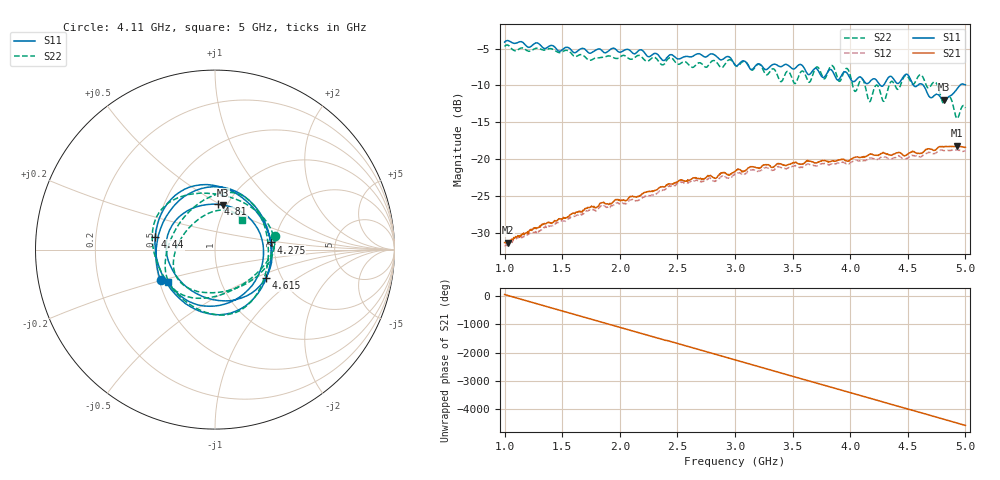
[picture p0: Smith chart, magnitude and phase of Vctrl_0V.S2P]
! C:\Users\Aljaz\OneDrive - Univerza v Ljubljani\DOKTORAT\NOVI TG\PIN AGC ATT\meritve_BAP64Q\Vctrl_0V.S2P
! Touchstone 1.1 file saved by VNA.EXE V1.65 (www.ke5fx.com/gpib/readme.htm)
! 22. 10. 2022 12:15:23
!  Source: HP8510C.07.14: Aug 26  1998
!  Min freq: 1.000000E+009 Hz
!  Max freq: 5.000000E+009 Hz
!  Points: 801
!  Params: S11 S21 S12 S22
# GHZ S DB R 50
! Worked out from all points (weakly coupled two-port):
!   801 points, 1 GHz to 5 GHz, reference 50 ohm
!   highest |S21| = -18.21 dB at 4.93 GHz (marker M1); lowest = -31.4 dB at 1.03 GHz (marker M2)
!   lowest |S11| = -12.0 dB at 4.815 GHz (marker M3), VSWR 1.67, Z = 48.1 + j25.5 ohm
!   |S11| at or under -10 dB: 4.262 GHz to 4.288 GHz (26.31 MHz wide, 0.615 % of centre); 4.551 GHz to 4.585 GHz (33.79 MHz wide, 0.74 % of centre); 4.636 GHz to 4.953 GHz (317.1 MHz wide, 6.61 % of centre)
!   |S22| runs from -14.5 to -4.5 dB; largest |S21 - S12| = 0.061
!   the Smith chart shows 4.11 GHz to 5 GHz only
!   S11 on the Smith chart (normalised r, x): 4.11 GHz: 0.51, -0.20; 4.275 GHz: 1.89, +0.17; 4.44 GHz: 0.50, +0.08; 4.615 GHz: 1.66, -0.58; 4.81 GHz: 0.91, +0.49; 5 GHz: 0.55, -0.22
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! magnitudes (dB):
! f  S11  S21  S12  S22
! 1 GHz  -4.1  -31.4  -31.8  -4.7
! 1.03 GHz  -3.9  -31.4  -31.6  -4.5
! 1.67 GHz  -5.0  -27.2  -27.6  -5.8
! 2.335 GHz  -5.9  -24.0  -24.5  -6.7
! 3 GHz  -7.2  -21.7  -22.0  -7.2
! 3.67 GHz  -8.1  -20.4  -20.8  -8.8
! 3.84 GHz  -7.9  -20.3  -20.7  -7.3
! 3.905 GHz  -9.1  -20.1  -20.6  -9.4
! 3.975 GHz  -8.4  -20.3  -20.7  -7.7
! 4.04 GHz  -9.4  -19.8  -20.2  -10.8
! 4.11 GHz  -9.2  -19.8  -20.2  -9.2
! 4.165 GHz  -9.6  -19.4  -19.9  -12.2
! 4.23 GHz  -9.3  -19.5  -20.1  -9.9
! 4.275 GHz  -10.1  -19.2  -19.7  -11.7
! 4.335 GHz  -8.9  -19.4  -20.0  -10.1
! 4.44 GHz  -9.4  -19.2  -19.8  -9.9
! 4.615 GHz  -9.8  -19.2  -19.7  -8.6
! 4.81 GHz  -11.9  -18.4  -18.9  -12.4
! 4.815 GHz  -12.0  -18.3  -18.9  -12.4
! 4.865 GHz  -11.5  -18.3  -18.8  -11.6
! 4.93 GHz  -10.4  -18.2  -18.8  -14.5
! 5 GHz  -9.9  -18.4  -18.9  -13.1
